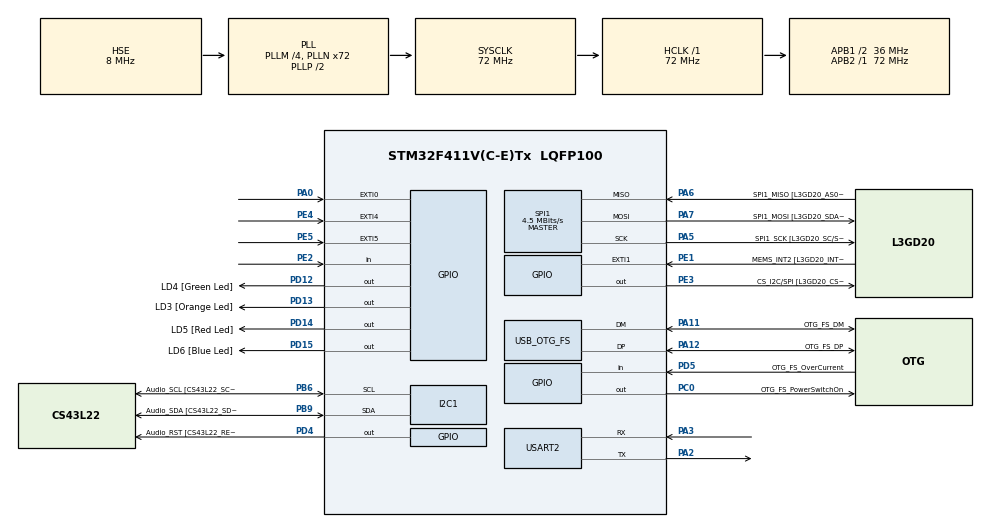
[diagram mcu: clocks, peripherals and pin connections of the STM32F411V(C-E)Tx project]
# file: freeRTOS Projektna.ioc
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FREERTOS.Tasks01=defaultTask,24,128,StartDefaultTask,Default,NULL,Dynamic,NULL,NULL
FREERTOS.configUSE_NEWLIB_REENTRANT=1
I2C1.DutyCycle=I2C_DUTYCYCLE_16_9
I2C1.I2C_Mode=I2C_Fast
Mcu.Family=STM32F4
Mcu.Name=STM32F411V(C-E)Tx
Mcu.Package=LQFP100
NVIC.OTG_FS_IRQn=true\:5\:0\:false\:false\:true\:true\:false\:true\:true
NVIC.PriorityGroup=NVIC_PRIORITYGROUP_4
NVIC.TIM4_IRQn=true\:15\:0\:false\:false\:true\:false\:false\:true\:true
NVIC.TimeBase=TIM4_IRQn
NVIC.TimeBaseIP=TIM4
NVIC.USART2_IRQn=true\:5\:0\:false\:false\:true\:true\:true\:true\:true
PA0-WKUP.GPIO_ModeDefaultEXTI=GPIO_MODE_EVT_RISING
PA0-WKUP.Signal=GPXTI0
PA10.GPIO_Label=OTG_FS_ID
PA10.Signal=USB_OTG_FS_ID
PA11.GPIO_Label=OTG_FS_DM
PA11.Mode=Device_Only
PA11.Signal=USB_OTG_FS_DM
PA12.GPIO_Label=OTG_FS_DP
PA12.Mode=Device_Only
PA12.Signal=USB_OTG_FS_DP
PA13.GPIO_Label=SWDIO
PA13.Mode=Serial_Wire
PA13.Signal=SYS_JTMS-SWDIO
PA14.GPIO_Label=SWCLK
PA14.Mode=Serial_Wire
PA14.Signal=SYS_JTCK-SWCLK
PA2.Mode=Asynchronous
PA2.Signal=USART2_TX
PA3.Mode=Asynchronous
PA3.Signal=USART2_RX
PA4.GPIO_Label=I2S3_WS [CS43L22_LRCK]
PA4.GPIO_Mode=GPIO_MODE_AF_PP
PA4.GPIO_PuPd=GPIO_NOPULL
PA4.GPIO_Speed=GPIO_SPEED_FREQ_LOW
PA4.Signal=I2S3_WS
PA5.GPIO_Label=SPI1_SCK [L3GD20_SC/SPC]
PA5.Mode=Full_Duplex_Master
PA5.Signal=SPI1_SCK
PA6.GPIO_Label=SPI1_MISO [L3GD20_AS0/SDO]
PA6.Mode=Full_Duplex_Master
PA6.Signal=SPI1_MISO
PA7.GPIO_Label=SPI1_MOSI [L3GD20_SDA/SDI/SDO]
PA7.Mode=Full_Duplex_Master
PA7.Signal=SPI1_MOSI
PA9.GPIO_Label=VBUS_FS
PA9.Signal=USB_OTG_FS_VBUS
PB10.GPIO_Label=CLK_IN [MP45DT02_CLK]
PB10.Signal=I2S2_CK
PB12.Signal=I2S2_WS
PB3.GPIO_Label=SWO
PB3.Signal=SYS_JTDO-SWO
PB6.GPIO_Label=Audio_SCL [CS43L22_SCL]
PB6.GPIO_Mode=GPIO_MODE_AF_OD
PB6.GPIO_PuPd=GPIO_NOPULL
PB6.GPIO_Speed=GPIO_SPEED_FREQ_LOW
PB6.Mode=I2C
PB6.Signal=I2C1_SCL
PB9.GPIO_Label=Audio_SDA [CS43L22_SDA]
PB9.GPIO_Mode=GPIO_MODE_AF_OD
PB9.GPIO_PuPd=GPIO_NOPULL
PB9.GPIO_Speed=GPIO_SPEED_FREQ_LOW
PB9.Mode=I2C
PB9.Signal=I2C1_SDA
PC0.GPIO_Label=OTG_FS_PowerSwitchOn
PC0.PinState=GPIO_PIN_SET
PC0.Signal=GPIO_Output
PC10.GPIO_Label=I2S3_SCK [CS43L22_SCLK]
PC10.GPIO_Mode=GPIO_MODE_AF_PP
PC10.GPIO_PuPd=GPIO_NOPULL
PC10.GPIO_Speed=GPIO_SPEED_FREQ_LOW
PC10.Signal=I2S3_CK
PC12.GPIO_Label=I2S3_SD [CS43L22_SDIN]
PC12.GPIO_Mode=GPIO_MODE_AF_PP
PC12.GPIO_PuPd=GPIO_NOPULL
PC12.GPIO_Speed=GPIO_SPEED_FREQ_LOW
PC12.Signal=I2S3_SD
PC14-OSC32_IN.GPIO_Label=PC14-OSC32_IN
PC14-OSC32_IN.Signal=RCC_OSC32_IN
PC15-OSC32_OUT.GPIO_Label=PC15-OSC32_OUT
PC15-OSC32_OUT.Signal=RCC_OSC32_OUT
PC3.GPIO_Label=PDM_OUT [MP45DT02_DOUT]
PC3.Signal=I2S2_SD
PC7.GPIO_Label=I2S3_MCK [CS43L22_MCLK]
PC7.GPIO_Mode=GPIO_MODE_AF_PP
PC7.GPIO_PuPd=GPIO_NOPULL
PC7.GPIO_Speed=GPIO_SPEED_FREQ_LOW
PC7.Signal=I2S3_MCK
PD12.GPIO_Label=LD4 [Green Led]
PD12.GPIO_PuPd=GPIO_NOPULL
PD12.GPIO_Speed=GPIO_SPEED_FREQ_LOW
PD12.Signal=GPIO_Output
PD13.GPIO_Label=LD3 [Orange Led]
PD13.GPIO_PuPd=GPIO_NOPULL
PD13.GPIO_Speed=GPIO_SPEED_FREQ_LOW
PD13.Signal=GPIO_Output
PD14.GPIO_Label=LD5 [Red Led]
PD14.GPIO_PuPd=GPIO_NOPULL
PD14.GPIO_Speed=GPIO_SPEED_FREQ_LOW
PD14.Signal=GPIO_Output
PD15.GPIO_Label=LD6 [Blue Led]
PD15.GPIO_PuPd=GPIO_NOPULL
PD15.GPIO_Speed=GPIO_SPEED_FREQ_LOW
PD15.Signal=GPIO_Output
PD4.GPIO_Label=Audio_RST [CS43L22_RESET]
PD4.Signal=GPIO_Output
PD5.GPIO_Label=OTG_FS_OverCurrent
PD5.Signal=GPIO_Input
PE1.GPIO_Label=MEMS_INT2 [L3GD20_INT2]
PE1.GPIO_ModeDefaultEXTI=GPIO_MODE_EVT_RISING
PE1.Signal=GPXTI1
PE2.Signal=GPIO_Input
PE3.GPIO_Label=CS_I2C/SPI [L3GD20_CS_I2C/SPI]
PE3.GPIO_Speed=GPIO_SPEED_FREQ_HIGH
PE3.Signal=GPIO_Output
PE4.GPIO_ModeDefaultEXTI=GPIO_MODE_EVT_RISING
PE4.Signal=GPXTI4
PE5.GPIO_ModeDefaultEXTI=GPIO_MODE_EVT_RISING
PE5.Signal=GPXTI5
PH0\ -\ OSC_IN.GPIO_Label=PH0-OSC_IN
PH0\ -\ OSC_IN.Mode=HSE-External-Oscillator
PH0\ -\ OSC_IN.Signal=RCC_OSC_IN
PH1\ -\ OSC_OUT.GPIO_Label=PH1-OSC_OUT
PH1\ -\ OSC_OUT.Mode=HSE-External-Oscillator
PH1\ -\ OSC_OUT.Signal=RCC_OSC_OUT
ProjectManager.HeapSize=0x200
ProjectManager.StackSize=0x400
ProjectManager.TargetToolchain=STM32CubeIDE
RCC.48MHZClocksFreq_Value=48000000
RCC.AHBFreq_Value=72000000
RCC.APB1CLKDivider=RCC_HCLK_DIV2
RCC.APB1Freq_Value=36000000
RCC.APB1TimFreq_Value=72000000
RCC.APB2Freq_Value=72000000
RCC.APB2TimFreq_Value=72000000
RCC.CortexFreq_Value=72000000
RCC.HCLKFreq_Value=72000000
RCC.HSE_VALUE=8000000
RCC.HSI_VALUE=16000000
RCC.LSE_VALUE=32768
RCC.PLLI2SM=5
RCC.PLLI2SN=200
RCC.PLLM=4
RCC.PLLN=72
RCC.PLLQ=3
RCC.SYSCLKFreq_VALUE=72000000
RCC.SYSCLKSource=RCC_SYSCLKSOURCE_PLLCLK
RCC.VCOOutputFreq_Value=144000000
SPI1.BaudRatePrescaler=SPI_BAUDRATEPRESCALER_16
SPI1.CLKPhase=SPI_PHASE_2EDGE
SPI1.CLKPolarity=SPI_POLARITY_HIGH
SPI1.CalculateBaudRate=4.5 MBits/s
SPI1.Direction=SPI_DIRECTION_2LINES
SPI1.Mode=SPI_MODE_MASTER
SPI1.VirtualType=VM_MASTER
USART2.VirtualMode=VM_ASYNC
USB_DEVICE.CLASS_NAME_FS=CDC
USB_DEVICE.VirtualMode=Cdc
USB_DEVICE.VirtualModeFS=Cdc_FS
USB_OTG_FS.VirtualMode=Device_Only
VP_FREERTOS_VS_CMSIS_V2.Mode=CMSIS_V2
VP_SYS_VS_tim4.Mode=TIM4
VP_USB_DEVICE_VS_USB_DEVICE_CDC_FS.Mode=CDC_FS
board=STM32F411E-DISCO

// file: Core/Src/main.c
/* USER CODE BEGIN Header */
/**
  ******************************************************************************
  * @file           : main.c
  * @brief          : Main program body
  ******************************************************************************
  * @attention
  *
  * Copyright (c) 2024 STMicroelectronics.
  * All rights reserved.
  *
  * This software is licensed under terms that can be found in the LICENSE file
  * in the root directory of this software component.
  * If no LICENSE file comes with this software, it is provided AS-IS.
  *
  ******************************************************************************
  */
/* USER CODE END Header */
#include "main.h"
#include "cmsis_os.h"
#include "usb_device.h"

/* USER CODE BEGIN Includes */
#include "FreeRTOS.h"
#include "task.h"
#include "queue.h"
#include "event_groups.h"
#include "esp32_manager.h"
#include "MQTT_dispatcher.h"
/* USER CODE END Includes */

/* USER CODE BEGIN PD */
#define USED_UART USART2
//#define WIFI_SSID #####
//#define WIFI_PASS #####

#define MQTT_BROKER_PORT 1883

#define TaskReadAccel_BIT (1UL << 0UL)
#define TaskSendAccel_BIT (1UL << 1UL)
#define TaskReadGyro_BIT (1UL << 2UL)
/* USER CODE END PD */

I2C_HandleTypeDef hi2c1;

SPI_HandleTypeDef hspi1;

UART_HandleTypeDef huart2;

/* Definitions for defaultTask */
osThreadId_t defaultTaskHandle;
const osThreadAttr_t defaultTask_attributes = {
  .name = "defaultTask",
  .stack_size = 128 * 4,
  .priority = (osPriority_t) osPriorityNormal,
};
/* USER CODE BEGIN PV */
EXTERN_TASK_HANDLES
QueueHandle_t QueueGyro;
QueueHandle_t QueueAccel;
EventGroupHandle_t xEventGroup;
uint8_t cip2 = 11;
int16_t meritev_test[6];
int ret;
/* USER CODE END PV */

void SystemClock_Config(void);
static void MX_GPIO_Init(void);
static void MX_I2C1_Init(void);
static void MX_SPI1_Init(void);
static void MX_USART2_UART_Init(void);
void StartDefaultTask(void *argument);
EventGroupHandle_t xEventGroupCreate(void);

/* USER CODE BEGIN PFP */
void TaskReadGyro(void *pvParameters);
void TaskReadAccel(void *pvParameters);
void TaskSendGyro(void *pvParameters);
void TaskSendAccel(void *pvParameters);

void initGyro(void);
void initAccel(void);
uint8_t spi1_beriRegister(uint8_t);
void spi1_beriRegistre(uint8_t, uint8_t*, uint8_t);
void spi1_pisiRegister(uint8_t, uint8_t);
uint8_t i2c1_pisiRegister(uint8_t, uint8_t, uint8_t);
void i2c1_beriRegistre(uint8_t, uint8_t, uint8_t*, uint8_t);
void initAccel(void);
/* USER CODE END PFP */

/* USER CODE BEGIN 0 */
uint8_t spi1_beriRegister(uint8_t reg) {
    uint16_t buf_out, buf_in;
    reg |= 0x80; // najpomembnejsi bit na 1
    buf_out = reg; // little endian, se postavi na pravo mesto ....
    HAL_GPIO_WritePin(GPIOE, GPIO_PIN_3, GPIO_PIN_RESET);
    HAL_SPI_TransmitReceive(&hspi1, (uint8_t*)&buf_out, (uint8_t*)&buf_in, 2, 2); // blocking posiljanje ....
    HAL_GPIO_WritePin(GPIOE, GPIO_PIN_3, GPIO_PIN_SET);
    return buf_in >> 8; // little endian...
}
void spi1_pisiRegister(uint8_t reg, uint8_t vrednost) {
    uint16_t buf_out;
    buf_out = reg | (vrednost<<8); // little endian, se postavi na pravo mesto ....
    HAL_GPIO_WritePin(GPIOE, GPIO_PIN_3, GPIO_PIN_RESET);
    HAL_SPI_Transmit(&hspi1, (uint8_t*)&buf_out, 2, 2); // blocking posiljanje ....
    HAL_GPIO_WritePin(GPIOE, GPIO_PIN_3, GPIO_PIN_SET);
}
void spi1_beriRegistre(uint8_t reg, uint8_t* buffer, uint8_t velikost) {
    reg |= 0xC0; // najpomembnejsa bita na 1
    HAL_GPIO_WritePin(GPIOE, GPIO_PIN_3, GPIO_PIN_RESET);
    HAL_SPI_Transmit(&hspi1, &reg, 1, 10); // blocking posiljanje....
    HAL_SPI_Receive(&hspi1,  buffer, velikost, velikost); // blocking posiljanje....
    HAL_GPIO_WritePin(GPIOE, GPIO_PIN_3, GPIO_PIN_SET);
}
void initGyro() { // ne pozabit klicat te funkcije
    uint8_t cip = spi1_beriRegister(0x0F);
    if (cip!=0xD4 && cip!=0xD3) {
        for (;;);
    }
    spi1_pisiRegister(0x20, 0x4F); // CTRL_REG1 PD Zen Yen Xen 200hz
    //TUKAJ NASTAVI Hz pa sensitivity +-500dps
    spi1_pisiRegister(0x22, 0x08); //DRDY
    spi1_pisiRegister(0x23, 0x10);
}
uint8_t i2c1_pisiRegister(uint8_t naprava, uint8_t reg, uint8_t podatek) {
    naprava <<= 1;
    return HAL_I2C_Mem_Write(&hi2c1, naprava, reg, I2C_MEMADD_SIZE_8BIT, &podatek, 1, 10);
}
void i2c1_beriRegistre(uint8_t naprava, uint8_t reg, uint8_t* podatek, uint8_t dolzina) {
    if ((dolzina>1)&&(naprava==0x19))  // ce je naprava 0x19 moramo postaviti ta bit, ce zelimo brati vec zlogov
        reg |= 0x80;
    naprava <<= 1;
    HAL_I2C_Mem_Read(&hi2c1, naprava, reg, I2C_MEMADD_SIZE_8BIT, podatek, dolzina, dolzina);
}
void initAccel() {
    i2c1_pisiRegister(0x19, 0x20, 0x27);
    i2c1_pisiRegister(0x19, 0x23, 0xA8);
}
void TaskReadGyro(void *pvParameters){
	int16_t gyroX;
	int16_t gyroY;
	int16_t gyroZ;

	const EventBits_t xBitsToWaitFor = (TaskReadAccel_BIT | TaskSendAccel_BIT);
	while(1){
		xEventGroupWaitBits(xEventGroup, xBitsToWaitFor, pdTRUE, pdFALSE, portMAX_DELAY);

		spi1_beriRegistre(0x28, (uint8_t*)&gyroX, 2);
		spi1_beriRegistre(0x2A, (uint8_t*)&gyroY, 2);
		spi1_beriRegistre(0x2C, (uint8_t*)&gyroZ, 2);

		xQueueSendToBack(QueueGyro, &gyroX, 0);
		xQueueSendToBack(QueueGyro, &gyroY, 0);
		xQueueSendToBack(QueueGyro, &gyroZ, 0);
	}
}
void TaskReadAccel(void *pvParameters){
	float accelX;
	float accelY;
	float accelZ;
	int16_t meritve[3];

	while(1){
		i2c1_beriRegistre(0x19, 0x28,(uint8_t*)&meritve[0], 2);
		i2c1_beriRegistre(0x19, 0x2A,(uint8_t*)&meritve[1], 2);
		i2c1_beriRegistre(0x19, 0x2C,(uint8_t*)&meritve[2], 2);
		//i2c1_beriRegistre(0x19, 0x28,(uint8_t*)&meritve, 6);

		meritve[0] = meritve[0] >> 4;
		meritve[1] = meritve[1] >> 4;
		meritve[2] = meritve[2] >> 4;

		accelX = meritve[0] * 0.0039;
		accelY = meritve[1] * 0.0039;
		accelZ = meritve[2] * 0.0039;

		xQueueSendToBack(QueueAccel, &accelX, 0);
		xQueueSendToBack(QueueAccel, &accelY, 0);
		xQueueSendToBack(QueueAccel, &accelZ, 0);

		xEventGroupSetBits(xEventGroup, TaskReadAccel_BIT);
	}

}
void TaskSendGyro(void *pvParameters){
	int16_t meritev[8];

	meritev[0] = 0xaaaa;
	const EventBits_t xBitsToWaitFor = (TaskReadAccel_BIT | TaskSendAccel_BIT | TaskReadGyro_BIT);
	const TickType_t xTicksToWait = pdMS_TO_TICKS(100);
	while(1){
		xEventGroupWaitBits(xEventGroup, xBitsToWaitFor, pdTRUE, pdFALSE, portMAX_DELAY);

		xQueueReceive(QueueGyro, &meritev[1], xTicksToWait);
		xQueueReceive(QueueGyro, &meritev[2], xTicksToWait);
		xQueueReceive(QueueGyro, &meritev[3], xTicksToWait);
		//posli
		CDC_Transmit_FS((uint8_t*)&meritev, sizeof(meritev));
		//mqtt_pub_raw("GyroData", &meritev, sizeof(meritev), 0, 0, xTicksToWait);

	}
}
void TaskSendAccel(void *pvParameters){
	float meritev[4];

	meritev[0] = 0xbbbb;
	const TickType_t xTicksToWait = pdMS_TO_TICKS(100);
	while(1){
		xQueueReceive(QueueAccel, &meritev[1], xTicksToWait);
		xQueueReceive(QueueAccel, &meritev[2], xTicksToWait);
		xQueueReceive(QueueAccel, &meritev[3], xTicksToWait);
		//posli
		//CDC_Transmit_FS((uint8_t*)&glava, sizeof(glava));
		CDC_Transmit_FS((uint8_t*)&meritev, sizeof(meritev));
		//mqtt_pub_raw("AccelData", &meritev, sizeof(meritev), 0, 0, xTicksToWait);
		xEventGroupSetBits(xEventGroup, TaskSendAccel_BIT);

	}
}
/* USER CODE END 0 */

int main(void)
{

  /* MCU Configuration--------------------------------------------------------*/

  /* Reset of all peripherals, Initializes the Flash interface and the Systick. */
  HAL_Init();

  /* Configure the system clock */
  SystemClock_Config();

  /* Initialize all configured peripherals */
  MX_GPIO_Init();
  MX_I2C1_Init();
  MX_SPI1_Init();
  MX_USART2_UART_Init();
  /* USER CODE BEGIN 2 */
  __HAL_I2C_ENABLE(&hi2c1);
  __HAL_SPI_ENABLE(&hspi1);
  HAL_GPIO_WritePin(GPIOE, GPIO_PIN_3, GPIO_PIN_SET);

  initGyro();
  initAccel();

//  if(esp32_init(&huart2) != pdPASS){
//	  HAL_GPIO_TogglePin(GPIOD, GPIO_PIN_12);
//  }
//
//  mqtt_init();
  //mqtt_pub("temp", "test", 0, 0, 100);
  //esp32_send
  /* USER CODE END 2 */

  /* Init scheduler */
  osKernelInitialize();

  /* USER CODE BEGIN RTOS_QUEUES */
  /* add queues, ... */
  QueueGyro = xQueueCreate( 5, sizeof( int16_t ) );
  QueueAccel = xQueueCreate( 5, sizeof( float ) );
  /* USER CODE END RTOS_QUEUES */

  /* Create the thread(s) */
  /* creation of defaultTask */
  defaultTaskHandle = osThreadNew(StartDefaultTask, NULL, &defaultTask_attributes);

  /* USER CODE BEGIN RTOS_THREADS */
  /* add threads, ... */
  xTaskCreate(TaskSendGyro, "running branje in posiljanje gyro", configMINIMAL_STACK_SIZE, NULL, 2, NULL);
  xTaskCreate(TaskSendAccel, "running branje in posiljanje accel", configMINIMAL_STACK_SIZE, NULL, 2, NULL);
  xTaskCreate(TaskReadGyro, "running branje in pisanje gyro", configMINIMAL_STACK_SIZE, NULL, 1, NULL);
  xTaskCreate(TaskReadAccel, "running branje in pisanje accel", configMINIMAL_STACK_SIZE, NULL, 1, NULL);
  /* USER CODE END RTOS_THREADS */

  /* USER CODE BEGIN RTOS_EVENTS */
  /* add events, ... */
  xEventGroup = xEventGroupCreate();
  /* USER CODE END RTOS_EVENTS */

  /* Start scheduler */
  osKernelStart();

  /* We should never get here as control is now taken by the scheduler */
  /* Infinite loop */
  while (1)
  {

  }
}

void SystemClock_Config(void)
{
  RCC_OscInitTypeDef RCC_OscInitStruct = {0};
  RCC_ClkInitTypeDef RCC_ClkInitStruct = {0};

  /** Configure the main internal regulator output voltage
  */
  __HAL_RCC_PWR_CLK_ENABLE();
  __HAL_PWR_VOLTAGESCALING_CONFIG(PWR_REGULATOR_VOLTAGE_SCALE1);

  /** Initializes the RCC Oscillators according to the specified parameters
  * in the RCC_OscInitTypeDef structure.
  */
  RCC_OscInitStruct.OscillatorType = RCC_OSCILLATORTYPE_HSE;
  RCC_OscInitStruct.HSEState = RCC_HSE_ON;
  RCC_OscInitStruct.PLL.PLLState = RCC_PLL_ON;
  RCC_OscInitStruct.PLL.PLLSource = RCC_PLLSOURCE_HSE;
  RCC_OscInitStruct.PLL.PLLM = 4;
  RCC_OscInitStruct.PLL.PLLN = 72;
  RCC_OscInitStruct.PLL.PLLP = RCC_PLLP_DIV2;
  RCC_OscInitStruct.PLL.PLLQ = 3;
  if (HAL_RCC_OscConfig(&RCC_OscInitStruct) != HAL_OK)
  {
    Error_Handler();
  }

  /** Initializes the CPU, AHB and APB buses clocks
  */
  RCC_ClkInitStruct.ClockType = RCC_CLOCKTYPE_HCLK|RCC_CLOCKTYPE_SYSCLK
                              |RCC_CLOCKTYPE_PCLK1|RCC_CLOCKTYPE_PCLK2;
  RCC_ClkInitStruct.SYSCLKSource = RCC_SYSCLKSOURCE_PLLCLK;
  RCC_ClkInitStruct.AHBCLKDivider = RCC_SYSCLK_DIV1;
  RCC_ClkInitStruct.APB1CLKDivider = RCC_HCLK_DIV2;
  RCC_ClkInitStruct.APB2CLKDivider = RCC_HCLK_DIV1;

  if (HAL_RCC_ClockConfig(&RCC_ClkInitStruct, FLASH_LATENCY_2) != HAL_OK)
  {
    Error_Handler();
  }
}

static void MX_I2C1_Init(void)
{

  hi2c1.Instance = I2C1;
  hi2c1.Init.ClockSpeed = 400000;
  hi2c1.Init.DutyCycle = I2C_DUTYCYCLE_16_9;
  hi2c1.Init.OwnAddress1 = 0;
  hi2c1.Init.AddressingMode = I2C_ADDRESSINGMODE_7BIT;
  hi2c1.Init.DualAddressMode = I2C_DUALADDRESS_DISABLE;
  hi2c1.Init.OwnAddress2 = 0;
  hi2c1.Init.GeneralCallMode = I2C_GENERALCALL_DISABLE;
  hi2c1.Init.NoStretchMode = I2C_NOSTRETCH_DISABLE;
  if (HAL_I2C_Init(&hi2c1) != HAL_OK)
  {
    Error_Handler();
  }

}

static void MX_SPI1_Init(void)
{

  /* SPI1 parameter configuration*/
  hspi1.Instance = SPI1;
  hspi1.Init.Mode = SPI_MODE_MASTER;
  hspi1.Init.Direction = SPI_DIRECTION_2LINES;
  hspi1.Init.DataSize = SPI_DATASIZE_8BIT;
  hspi1.Init.CLKPolarity = SPI_POLARITY_HIGH;
  hspi1.Init.CLKPhase = SPI_PHASE_2EDGE;
  hspi1.Init.NSS = SPI_NSS_SOFT;
  hspi1.Init.BaudRatePrescaler = SPI_BAUDRATEPRESCALER_16;
  hspi1.Init.FirstBit = SPI_FIRSTBIT_MSB;
  hspi1.Init.TIMode = SPI_TIMODE_DISABLE;
  hspi1.Init.CRCCalculation = SPI_CRCCALCULATION_DISABLE;
  hspi1.Init.CRCPolynomial = 10;
  if (HAL_SPI_Init(&hspi1) != HAL_OK)
  {
    Error_Handler();
  }

}

static void MX_USART2_UART_Init(void)
{

  huart2.Instance = USART2;
  huart2.Init.BaudRate = 115200;
  huart2.Init.WordLength = UART_WORDLENGTH_8B;
  huart2.Init.StopBits = UART_STOPBITS_1;
  huart2.Init.Parity = UART_PARITY_NONE;
  huart2.Init.Mode = UART_MODE_TX_RX;
  huart2.Init.HwFlowCtl = UART_HWCONTROL_NONE;
  huart2.Init.OverSampling = UART_OVERSAMPLING_16;
  if (HAL_UART_Init(&huart2) != HAL_OK)
  {
    Error_Handler();
  }

}

static void MX_GPIO_Init(void)
{
  GPIO_InitTypeDef GPIO_InitStruct = {0};

  /* GPIO Ports Clock Enable */
  __HAL_RCC_GPIOE_CLK_ENABLE();
  __HAL_RCC_GPIOC_CLK_ENABLE();
  __HAL_RCC_GPIOH_CLK_ENABLE();
  __HAL_RCC_GPIOA_CLK_ENABLE();
  __HAL_RCC_GPIOB_CLK_ENABLE();
  __HAL_RCC_GPIOD_CLK_ENABLE();

  /*Configure GPIO pin Output Level */
  HAL_GPIO_WritePin(CS_I2C_SPI_GPIO_Port, CS_I2C_SPI_Pin, GPIO_PIN_RESET);

  /*Configure GPIO pin Output Level */
  HAL_GPIO_WritePin(OTG_FS_PowerSwitchOn_GPIO_Port, OTG_FS_PowerSwitchOn_Pin, GPIO_PIN_SET);

  /*Configure GPIO pin Output Level */
  HAL_GPIO_WritePin(GPIOD, LD4_Pin|LD3_Pin|LD5_Pin|LD6_Pin
                          |Audio_RST_Pin, GPIO_PIN_RESET);

  /*Configure GPIO pin : PE2 */
  GPIO_InitStruct.Pin = GPIO_PIN_2;
  GPIO_InitStruct.Mode = GPIO_MODE_INPUT;
  GPIO_InitStruct.Pull = GPIO_NOPULL;
  HAL_GPIO_Init(GPIOE, &GPIO_InitStruct);

  /*Configure GPIO pin : CS_I2C_SPI_Pin */
  GPIO_InitStruct.Pin = CS_I2C_SPI_Pin;
  GPIO_InitStruct.Mode = GPIO_MODE_OUTPUT_PP;
  GPIO_InitStruct.Pull = GPIO_NOPULL;
  GPIO_InitStruct.Speed = GPIO_SPEED_FREQ_HIGH;
  HAL_GPIO_Init(CS_I2C_SPI_GPIO_Port, &GPIO_InitStruct);

  /*Configure GPIO pins : PE4 PE5 MEMS_INT2_Pin */
  GPIO_InitStruct.Pin = GPIO_PIN_4|GPIO_PIN_5|MEMS_INT2_Pin;
  GPIO_InitStruct.Mode = GPIO_MODE_EVT_RISING;
  GPIO_InitStruct.Pull = GPIO_NOPULL;
  HAL_GPIO_Init(GPIOE, &GPIO_InitStruct);

  /*Configure GPIO pin : OTG_FS_PowerSwitchOn_Pin */
  GPIO_InitStruct.Pin = OTG_FS_PowerSwitchOn_Pin;
  GPIO_InitStruct.Mode = GPIO_MODE_OUTPUT_PP;
  GPIO_InitStruct.Pull = GPIO_NOPULL;
  GPIO_InitStruct.Speed = GPIO_SPEED_FREQ_LOW;
  HAL_GPIO_Init(OTG_FS_PowerSwitchOn_GPIO_Port, &GPIO_InitStruct);

  /*Configure GPIO pin : PDM_OUT_Pin */
  GPIO_InitStruct.Pin = PDM_OUT_Pin;
  GPIO_InitStruct.Mode = GPIO_MODE_AF_PP;
  GPIO_InitStruct.Pull = GPIO_NOPULL;
  GPIO_InitStruct.Speed = GPIO_SPEED_FREQ_LOW;
  GPIO_InitStruct.Alternate = GPIO_AF5_SPI2;
  HAL_GPIO_Init(PDM_OUT_GPIO_Port, &GPIO_InitStruct);

  /*Configure GPIO pin : PA0 */
  GPIO_InitStruct.Pin = GPIO_PIN_0;
  GPIO_InitStruct.Mode = GPIO_MODE_EVT_RISING;
  GPIO_InitStruct.Pull = GPIO_NOPULL;
  HAL_GPIO_Init(GPIOA, &GPIO_InitStruct);

  /*Configure GPIO pin : I2S3_WS_Pin */
  GPIO_InitStruct.Pin = I2S3_WS_Pin;
  GPIO_InitStruct.Mode = GPIO_MODE_AF_PP;
  GPIO_InitStruct.Pull = GPIO_NOPULL;
  GPIO_InitStruct.Speed = GPIO_SPEED_FREQ_LOW;
  GPIO_InitStruct.Alternate = GPIO_AF6_SPI3;
  HAL_GPIO_Init(I2S3_WS_GPIO_Port, &GPIO_InitStruct);

  /*Configure GPIO pins : CLK_IN_Pin PB12 */
  GPIO_InitStruct.Pin = CLK_IN_Pin|GPIO_PIN_12;
  GPIO_InitStruct.Mode = GPIO_MODE_AF_PP;
  GPIO_InitStruct.Pull = GPIO_NOPULL;
  GPIO_InitStruct.Speed = GPIO_SPEED_FREQ_LOW;
  GPIO_InitStruct.Alternate = GPIO_AF5_SPI2;
  HAL_GPIO_Init(GPIOB, &GPIO_InitStruct);

  /*Configure GPIO pins : LD4_Pin LD3_Pin LD5_Pin LD6_Pin
                           Audio_RST_Pin */
  GPIO_InitStruct.Pin = LD4_Pin|LD3_Pin|LD5_Pin|LD6_Pin
                          |Audio_RST_Pin;
  GPIO_InitStruct.Mode = GPIO_MODE_OUTPUT_PP;
  GPIO_InitStruct.Pull = GPIO_NOPULL;
  GPIO_InitStruct.Speed = GPIO_SPEED_FREQ_LOW;
  HAL_GPIO_Init(GPIOD, &GPIO_InitStruct);

  /*Configure GPIO pins : I2S3_MCK_Pin I2S3_SCK_Pin I2S3_SD_Pin */
  GPIO_InitStruct.Pin = I2S3_MCK_Pin|I2S3_SCK_Pin|I2S3_SD_Pin;
  GPIO_InitStruct.Mode = GPIO_MODE_AF_PP;
  GPIO_InitStruct.Pull = GPIO_NOPULL;
  GPIO_InitStruct.Speed = GPIO_SPEED_FREQ_LOW;
  GPIO_InitStruct.Alternate = GPIO_AF6_SPI3;
  HAL_GPIO_Init(GPIOC, &GPIO_InitStruct);

  /*Configure GPIO pin : OTG_FS_OverCurrent_Pin */
  GPIO_InitStruct.Pin = OTG_FS_OverCurrent_Pin;
  GPIO_InitStruct.Mode = GPIO_MODE_INPUT;
  GPIO_InitStruct.Pull = GPIO_NOPULL;
  HAL_GPIO_Init(OTG_FS_OverCurrent_GPIO_Port, &GPIO_InitStruct);

}

void StartDefaultTask(void *argument)
{
  /* init code for USB_DEVICE */
  MX_USB_DEVICE_Init();
  for(;;)
  {
    osDelay(1);
  }
}

void HAL_TIM_PeriodElapsedCallback(TIM_HandleTypeDef *htim)
{
  if (htim->Instance == TIM4) {
    HAL_IncTick();
  }
}

void Error_Handler(void)
{
  __disable_irq();
  while (1)
  {
  }
}
